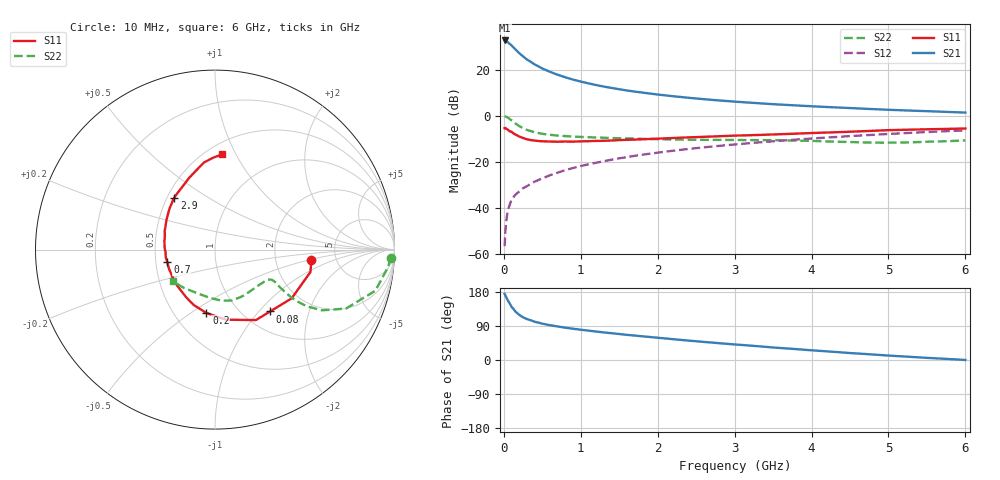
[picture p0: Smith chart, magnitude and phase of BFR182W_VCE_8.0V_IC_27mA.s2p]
! (c) 2017  Infineon Technologies AG, Munich
! Infineon Technologies  Discrete & RF Semiconductors
! BFR182W
! VCE =  8.0 V,  IC =  27 mA
! Common Emitter S-Parameters:  Jan 2017
# GHz  S  MA  R  50
!  f  S11  S21  S12  S22
! GHz  MAG  ANG  MAG  ANG  MAG  ANG  MAG  ANG
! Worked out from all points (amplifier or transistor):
!   77 points, 10 MHz to 6 GHz, reference 50 ohm
!   highest |S21| = 32.7 dB at 10 MHz (marker M1)
!   |S21| within 3 dB of that: start of sweep to 125 MHz
!   unconditionally stable (mu >= 1): 744.9 MHz to 2.277 GHz
!   at 130 MHz: K = 0.48, MSG = 32.3 dB, |S12| = -35.0 dB
!   at 2.2 GHz: K = 1.00, MAG = 11.4 dB, |S12| = -15.1 dB
!   at 6 GHz: K = 0.86, MSG = 3.9 dB, |S12| = -6.3 dB
!   S11 on the Smith chart (normalised r, x): 10 MHz: 3.24, -0.55; 80 MHz: 1.31, -1.15; 200 MHz: 0.71, -0.58; 700 MHz: 0.58, -0.09; 2.9 GHz: 0.55, +0.36; 6 GHz: 0.59, +0.88
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0.01  0.54 -6.4  43.01 174.4  0.0015 81.1  0.9798 -2.6
0.02  0.5463 -13.2  42.78 170.3  0.0032 81.9  0.9687 -5.9
0.05  0.5061 -32.5  39.91 157.6  0.0084 77.2  0.922 -14.4
0.08  0.4616 -48.3  35.73 147.9  0.0123 73.3  0.8453 -20.0
0.1  0.454 -59.9  33.63 140.2  0.015 71.8  0.7994 -24.3
0.15  0.395 -81.2  27.59 127.9  0.0195 66.2  0.6852 -29.6
0.2  0.3565 -97.7  22.89 119.2  0.023 67.7  0.6013 -31.7
0.25  0.3308 -110.9  19.4 112.6  0.0271 66.4  0.5407 -32.2
0.3  0.3105 -121.1  16.66 108.0  0.0299 67.4  0.4956 -32.0
0.4  0.2911 -136.6  13.03 100.9  0.0375 68.9  0.4405 -30.8
0.5  0.2812 -148.2  10.62 95.9  0.044 70.2  0.4087 -29.7
0.6  0.2775 -157.6  8.982 91.8  0.0517 70.7  0.3882 -28.7
0.7  0.2749 -165.0  7.758 88.4  0.0588 72.2  0.3737 -28.1
0.9  0.2759 -176.7  6.1 82.5  0.074 72.5  0.3558 -28.1
1.1  0.2827 174.2  5.053 77.5  0.0891 72.3  0.3448 -29.0
1.5  0.2983 160.1  3.768 68.6  0.1202 71.2  0.3272 -32.9
2.1  0.3253 144.3  2.777 56.9  0.1673 67.8  0.3096 -42.8
2.9  0.367 128.1  2.093 42.7  0.2317 62.1  0.3007 -59.9
3.1  0.3763 124.3  1.981 39.6  0.2479 60.5  0.2991 -64.1
4.1  0.4294 108.6  1.584 24.2  0.3309 51.9  0.2828 -85.1
5.1  0.4939 95.9  1.334 10.5  0.413 42.4  0.2629 -115.5
6  0.5313 85.9  1.177 0.1  0.4844 33.3  0.2939 -142.8
